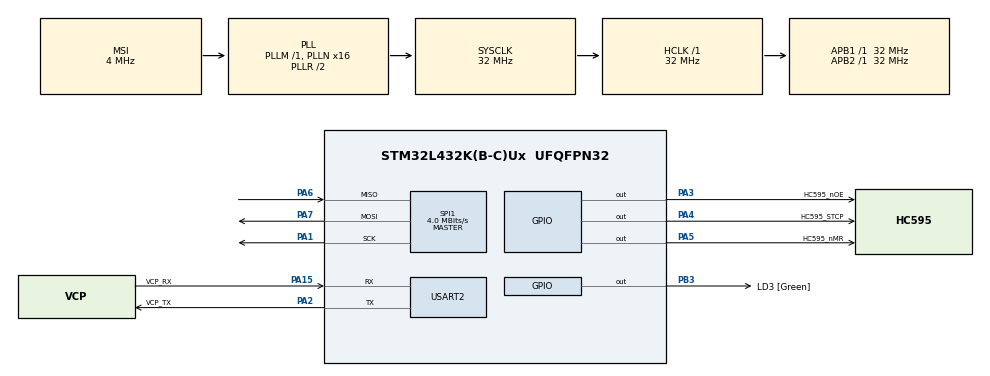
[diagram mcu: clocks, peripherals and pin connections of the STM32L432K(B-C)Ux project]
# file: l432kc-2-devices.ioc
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Mcu.Family=STM32L4
Mcu.Name=STM32L432K(B-C)Ux
Mcu.Package=UFQFPN32
NVIC.PriorityGroup=NVIC_PRIORITYGROUP_4
PA0.GPIO_Label=MCO [High speed clock in]
PA0.Mode=HSE-External-Clock-Source-for-LittleOrca
PA0.Signal=RCC_CK_IN
PA1.Mode=Full_Duplex_Master
PA1.Signal=SPI1_SCK
PA13\ (JTMS-SWDIO).GPIO_Label=SWDIO
PA13\ (JTMS-SWDIO).Mode=Serial_Wire
PA13\ (JTMS-SWDIO).Signal=SYS_JTMS-SWDIO
PA14\ (JTCK-SWCLK).GPIO_Label=SWCLK
PA14\ (JTCK-SWCLK).Mode=Serial_Wire
PA14\ (JTCK-SWCLK).Signal=SYS_JTCK-SWCLK
PA15\ (JTDI).GPIO_Label=VCP_RX
PA15\ (JTDI).Mode=Asynchronous
PA15\ (JTDI).Signal=USART2_RX
PA2.GPIO_Label=VCP_TX
PA2.Mode=Asynchronous
PA2.Signal=USART2_TX
PA3.GPIO_Label=HC595_nOE
PA3.GPIO_Speed=GPIO_SPEED_FREQ_VERY_HIGH
PA3.PinState=GPIO_PIN_SET
PA3.Signal=GPIO_Output
PA4.GPIO_Label=HC595_STCP
PA4.GPIO_Speed=GPIO_SPEED_FREQ_VERY_HIGH
PA4.PinState=GPIO_PIN_SET
PA4.Signal=GPIO_Output
PA5.GPIO_Label=HC595_nMR
PA5.GPIO_Speed=GPIO_SPEED_FREQ_VERY_HIGH
PA5.PinState=GPIO_PIN_RESET
PA5.Signal=GPIO_Output
PA6.Mode=Full_Duplex_Master
PA6.Signal=SPI1_MISO
PA7.Mode=Full_Duplex_Master
PA7.Signal=SPI1_MOSI
PB3\ (JTDO-TRACESWO).GPIO_Label=LD3 [Green]
PB3\ (JTDO-TRACESWO).Signal=GPIO_Output
PC14-OSC32_IN\ (PC14).Mode=LSE-External-Oscillator
PC14-OSC32_IN\ (PC14).Signal=RCC_OSC32_IN
PC15-OSC32_OUT\ (PC15).Mode=LSE-External-Oscillator
PC15-OSC32_OUT\ (PC15).Signal=RCC_OSC32_OUT
ProjectManager.HeapSize=0x200
ProjectManager.StackSize=0x400
ProjectManager.TargetToolchain=STM32CubeIDE
RCC.AHBFreq_Value=32000000
RCC.APB1Freq_Value=32000000
RCC.APB1TimFreq_Value=32000000
RCC.APB2Freq_Value=32000000
RCC.APB2TimFreq_Value=32000000
RCC.CortexFreq_Value=32000000
RCC.HCLKFreq_Value=32000000
RCC.HSE_VALUE=8000000
RCC.HSI16_VALUE=16000000
RCC.HSI48_VALUE=48000000
RCC.HSI_VALUE=16000000
RCC.MSI_VALUE=4000000
RCC.PLLMUL=RCC_PLLMUL_4
RCC.PLLN=16
RCC.SYSCLKFreq_VALUE=32000000
RCC.SYSCLKSource=RCC_SYSCLKSOURCE_PLLCLK
RCC.VCOOutputFreq_Value=64000000
SPI1.BaudRatePrescaler=SPI_BAUDRATEPRESCALER_8
SPI1.CLKPhase=SPI_PHASE_1EDGE
SPI1.CLKPolarity=SPI_POLARITY_LOW
SPI1.CalculateBaudRate=4.0 MBits/s
SPI1.DataSize=SPI_DATASIZE_8BIT
SPI1.Direction=SPI_DIRECTION_2LINES
SPI1.Mode=SPI_MODE_MASTER
SPI1.VirtualType=VM_MASTER
USART2.VirtualMode-Asynchronous=VM_ASYNC
board=NUCLEO-L432KC

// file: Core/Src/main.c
/* USER CODE BEGIN Header */
/**
  ******************************************************************************
  * @file           : main.c
  * @brief          : Main program body
  ******************************************************************************
  * @attention
  *
  * Copyright (c) 2025 STMicroelectronics.
  * All rights reserved.
  *
  * This software is licensed under terms that can be found in the LICENSE file
  * in the root directory of this software component.
  * If no LICENSE file comes with this software, it is provided AS-IS.
  *
  ******************************************************************************
  */
/* USER CODE END Header */
#include "main.h"

/* USER CODE BEGIN Includes */
#include "l74xx595.h"
/* USER CODE END Includes */

SPI_HandleTypeDef hspi1;

UART_HandleTypeDef huart2;

/* USER CODE BEGIN PV */
l74xx595_t l74xx595 = {0};
/* USER CODE END PV */

void SystemClock_Config(void);
static void MX_GPIO_Init(void);
static void MX_USART2_UART_Init(void);
static void MX_SPI1_Init(void);

/* USER CODE BEGIN 0 */
uint8_t _hc595_tx(uint8_t *bff, uint8_t len){
	HAL_StatusTypeDef err;

	err = HAL_SPI_Transmit(&hspi1, bff, len, 100);
	if (err == HAL_OK){
		return 0;
	}
	else{
		return 1;
	}
}

void _hc595_oe(bool sig){
	HAL_GPIO_WritePin(HC595_nOE_GPIO_Port, HC595_nOE_Pin, sig);
}

void _hc595_mr(bool sig){
	HAL_GPIO_WritePin(HC595_nMR_GPIO_Port, HC595_nMR_Pin, sig);
}

void _hc595_latch(bool sig){
	HAL_GPIO_WritePin(HC595_STCP_GPIO_Port, HC595_STCP_Pin, sig);
}

/* USER CODE END 0 */

int main(void)
{

  /* USER CODE BEGIN 1 */
	l74xx595_params_t l74xx595Params = {0};
	uint8_t LedsArr[2] = {0x08, 0x80};
  /* USER CODE END 1 */

  /* MCU Configuration--------------------------------------------------------*/

  /* Reset of all peripherals, Initializes the Flash interface and the Systick. */
  HAL_Init();

  /* Configure the system clock */
  SystemClock_Config();

  /* Initialize all configured peripherals */
  MX_GPIO_Init();
  MX_USART2_UART_Init();
  MX_SPI1_Init();
  /* USER CODE BEGIN 2 */
  l74xx595Params.fxnGpioLATCH = _hc595_latch;
  l74xx595Params.fxnGpioMR = _hc595_mr;
  l74xx595Params.fxnGpioOE = _hc595_oe;
  l74xx595Params.fxnMtxLock = NULL;
  l74xx595Params.fxnMtxUnlock = NULL;
  l74xx595Params.fxnSpiTransmit = _hc595_tx;
  l74xx595Params.u8NumberOfDevices = 2;
  l74xx595Params.pu8ExtBuffer = NULL;

  l74xx595_init(&l74xx595, &l74xx595Params);
  /* USER CODE END 2 */

  /* Infinite loop */
  /* USER CODE BEGIN WHILE */
  while (1)
  {
	  l74xx595_write_byte(&l74xx595, 0, LedsArr[0]);
	  l74xx595_write_byte(&l74xx595, 1, LedsArr[1]);
	  LedsArr[0] <<= 1;
	  LedsArr[1] >>= 1;
	  if (LedsArr[1] == 0x04){
		  LedsArr[0] = 0x08;
		  LedsArr[1] = 0x80;
	  }
	  HAL_Delay(50);
    /* USER CODE END WHILE */

  }
}

void SystemClock_Config(void)
{
  RCC_OscInitTypeDef RCC_OscInitStruct = {0};
  RCC_ClkInitTypeDef RCC_ClkInitStruct = {0};

  /** Configure the main internal regulator output voltage
  */
  if (HAL_PWREx_ControlVoltageScaling(PWR_REGULATOR_VOLTAGE_SCALE1) != HAL_OK)
  {
    Error_Handler();
  }

  /** Configure LSE Drive Capability
  */
  HAL_PWR_EnableBkUpAccess();
  __HAL_RCC_LSEDRIVE_CONFIG(RCC_LSEDRIVE_LOW);

  /** Initializes the RCC Oscillators according to the specified parameters
  * in the RCC_OscInitTypeDef structure.
  */
  RCC_OscInitStruct.OscillatorType = RCC_OSCILLATORTYPE_LSE|RCC_OSCILLATORTYPE_MSI;
  RCC_OscInitStruct.LSEState = RCC_LSE_ON;
  RCC_OscInitStruct.MSIState = RCC_MSI_ON;
  RCC_OscInitStruct.MSICalibrationValue = 0;
  RCC_OscInitStruct.MSIClockRange = RCC_MSIRANGE_6;
  RCC_OscInitStruct.PLL.PLLState = RCC_PLL_ON;
  RCC_OscInitStruct.PLL.PLLSource = RCC_PLLSOURCE_MSI;
  RCC_OscInitStruct.PLL.PLLM = 1;
  RCC_OscInitStruct.PLL.PLLN = 16;
  RCC_OscInitStruct.PLL.PLLP = RCC_PLLP_DIV7;
  RCC_OscInitStruct.PLL.PLLQ = RCC_PLLQ_DIV2;
  RCC_OscInitStruct.PLL.PLLR = RCC_PLLR_DIV2;
  if (HAL_RCC_OscConfig(&RCC_OscInitStruct) != HAL_OK)
  {
    Error_Handler();
  }

  /** Initializes the CPU, AHB and APB buses clocks
  */
  RCC_ClkInitStruct.ClockType = RCC_CLOCKTYPE_HCLK|RCC_CLOCKTYPE_SYSCLK
                              |RCC_CLOCKTYPE_PCLK1|RCC_CLOCKTYPE_PCLK2;
  RCC_ClkInitStruct.SYSCLKSource = RCC_SYSCLKSOURCE_PLLCLK;
  RCC_ClkInitStruct.AHBCLKDivider = RCC_SYSCLK_DIV1;
  RCC_ClkInitStruct.APB1CLKDivider = RCC_HCLK_DIV1;
  RCC_ClkInitStruct.APB2CLKDivider = RCC_HCLK_DIV1;

  if (HAL_RCC_ClockConfig(&RCC_ClkInitStruct, FLASH_LATENCY_1) != HAL_OK)
  {
    Error_Handler();
  }

  /** Enable MSI Auto calibration
  */
  HAL_RCCEx_EnableMSIPLLMode();
}

static void MX_SPI1_Init(void)
{

  /* SPI1 parameter configuration*/
  hspi1.Instance = SPI1;
  hspi1.Init.Mode = SPI_MODE_MASTER;
  hspi1.Init.Direction = SPI_DIRECTION_2LINES;
  hspi1.Init.DataSize = SPI_DATASIZE_8BIT;
  hspi1.Init.CLKPolarity = SPI_POLARITY_LOW;
  hspi1.Init.CLKPhase = SPI_PHASE_1EDGE;
  hspi1.Init.NSS = SPI_NSS_SOFT;
  hspi1.Init.BaudRatePrescaler = SPI_BAUDRATEPRESCALER_8;
  hspi1.Init.FirstBit = SPI_FIRSTBIT_MSB;
  hspi1.Init.TIMode = SPI_TIMODE_DISABLE;
  hspi1.Init.CRCCalculation = SPI_CRCCALCULATION_DISABLE;
  hspi1.Init.CRCPolynomial = 7;
  hspi1.Init.CRCLength = SPI_CRC_LENGTH_DATASIZE;
  hspi1.Init.NSSPMode = SPI_NSS_PULSE_ENABLE;
  if (HAL_SPI_Init(&hspi1) != HAL_OK)
  {
    Error_Handler();
  }

}

static void MX_USART2_UART_Init(void)
{

  huart2.Instance = USART2;
  huart2.Init.BaudRate = 115200;
  huart2.Init.WordLength = UART_WORDLENGTH_8B;
  huart2.Init.StopBits = UART_STOPBITS_1;
  huart2.Init.Parity = UART_PARITY_NONE;
  huart2.Init.Mode = UART_MODE_TX_RX;
  huart2.Init.HwFlowCtl = UART_HWCONTROL_NONE;
  huart2.Init.OverSampling = UART_OVERSAMPLING_16;
  huart2.Init.OneBitSampling = UART_ONE_BIT_SAMPLE_DISABLE;
  huart2.AdvancedInit.AdvFeatureInit = UART_ADVFEATURE_NO_INIT;
  if (HAL_UART_Init(&huart2) != HAL_OK)
  {
    Error_Handler();
  }

}

static void MX_GPIO_Init(void)
{
  GPIO_InitTypeDef GPIO_InitStruct = {0};

  /* GPIO Ports Clock Enable */
  __HAL_RCC_GPIOC_CLK_ENABLE();
  __HAL_RCC_GPIOA_CLK_ENABLE();
  __HAL_RCC_GPIOB_CLK_ENABLE();

  /*Configure GPIO pin Output Level */
  HAL_GPIO_WritePin(GPIOA, HC595_nOE_Pin|HC595_STCP_Pin, GPIO_PIN_SET);

  /*Configure GPIO pin Output Level */
  HAL_GPIO_WritePin(HC595_nMR_GPIO_Port, HC595_nMR_Pin, GPIO_PIN_RESET);

  /*Configure GPIO pin Output Level */
  HAL_GPIO_WritePin(LD3_GPIO_Port, LD3_Pin, GPIO_PIN_RESET);

  /*Configure GPIO pins : HC595_nOE_Pin HC595_STCP_Pin HC595_nMR_Pin */
  GPIO_InitStruct.Pin = HC595_nOE_Pin|HC595_STCP_Pin|HC595_nMR_Pin;
  GPIO_InitStruct.Mode = GPIO_MODE_OUTPUT_PP;
  GPIO_InitStruct.Pull = GPIO_NOPULL;
  GPIO_InitStruct.Speed = GPIO_SPEED_FREQ_VERY_HIGH;
  HAL_GPIO_Init(GPIOA, &GPIO_InitStruct);

  /*Configure GPIO pin : LD3_Pin */
  GPIO_InitStruct.Pin = LD3_Pin;
  GPIO_InitStruct.Mode = GPIO_MODE_OUTPUT_PP;
  GPIO_InitStruct.Pull = GPIO_NOPULL;
  GPIO_InitStruct.Speed = GPIO_SPEED_FREQ_LOW;
  HAL_GPIO_Init(LD3_GPIO_Port, &GPIO_InitStruct);

}

void Error_Handler(void)
{
  __disable_irq();
  while (1)
  {
  }
}
